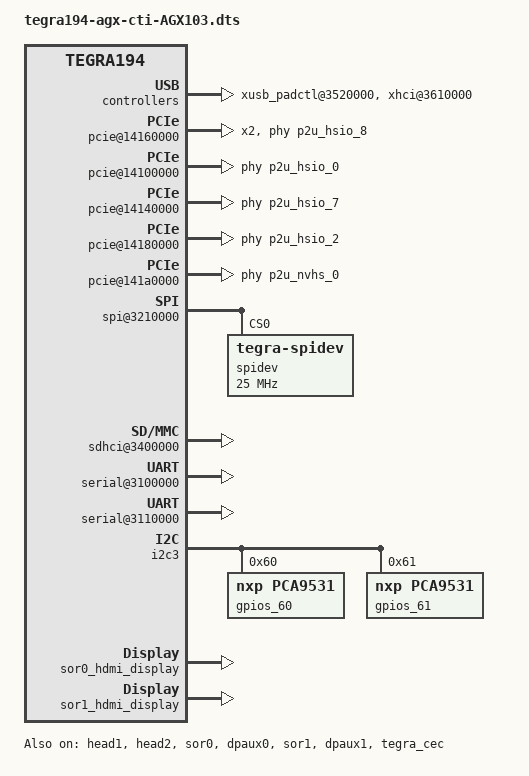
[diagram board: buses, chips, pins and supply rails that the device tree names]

#include "tegra194-agx-cti-base.dtsi"
#include "cti_common/tegra194-agx-cti-AGX111-USBC.dtsi"
/{

    nvidia,dtsfilename = "tegra194-agx-cti-AGX103.dts";

    xusb_padctl@3520000 {
        status = "okay";
        pads {
            usb2 {
                lanes {
                    usb2-0 {
                        status = "okay";
                    };
                    usb2-1 {
                        status = "okay";
                    };
                    usb2-2 {
                        status = "okay";
                    };
                    usb2-3 {
                        status = "okay";
                    };
                };
            };
            usb3 {
                lanes {
                    usb3-0 {
                        status = "okay";
                    };
                    usb3-1 {
                        status = "disabled";
                    };
                    usb3-2 {
                        status = "okay";
                    };
                    usb3-3 {
                        status = "okay";
                    };
                };
            };
        };
        ports {
            usb2-0 {
                status = "okay";
                vbus-supply = <&vdd_usb_vbus0>;
            };
            usb2-1 {
                status = "okay";
                vbus-supply = <&vdd_usb_vbus0>;
            };
            usb2-2 {
                status = "okay";
            };
            usb2-3 {
                status = "okay";
                vbus-supply = <&vdd_usb_vbus0>;
            };
            usb3-0 {
                nvidia,usb2-companion = <1>;
            //    nvidia,usb3-gen1-only= <1>;
                status = "okay";
            };
            usb3-1{
            //    nvidia,usb2-companion = <1>;
            //    nvidia,usb3-gen1-only= <1>;
                status = "disabled";
            };
            usb3-2 {
                nvidia,usb2-companion = <0>;
            //    nvidia,usb3-gen1-only= <1>;
                status = "okay";
            };
            usb3-3 {
                nvidia,usb2-companion = <3>;
            //    nvidia,usb3-gen1-only= <1>;
                status = "okay";
            };
        };
    };

    xhci@3610000 {
        status = "okay";
        phys = <&{/xusb_padctl@3520000/pads/usb2/lanes/usb2-0}>,
            <&{/xusb_padctl@3520000/pads/usb2/lanes/usb2-1}>,
            <&{/xusb_padctl@3520000/pads/usb2/lanes/usb2-3}>,
            <&{/xusb_padctl@3520000/pads/usb2/lanes/usb2-2}>,
            <&{/xusb_padctl@3520000/pads/usb3/lanes/usb3-0}>,
            <&{/xusb_padctl@3520000/pads/usb3/lanes/usb3-2}>,
            <&{/xusb_padctl@3520000/pads/usb3/lanes/usb3-3}>;
        phy-names = "usb2-0", "usb2-1", "usb2-3", "usb2-2",
                    "usb3-0", "usb3-2", "usb3-3";
    };
	//Enabling Nvme
	pcie@14160000 {
        status = "okay";
        num-lanes=<2>;      //supports only 2 lanes

        phys =  <&p2u_hsio_8>,
				<&p2u_hsio_9>;
        phy-names = "p2u-0", "p2u-1";
    };

    pcie@14100000 {
        status = "okay";
        phys = <&p2u_hsio_0>;
        phy-names = "p2u-0";
    };

    pcie@14140000 {
        status = "okay";
        phys = <&p2u_hsio_7>;
        phy-names = "p2u-0";
    };

    pcie@14180000 {
        status = "okay";
        phys = <&p2u_hsio_2>, <&p2u_hsio_3>, <&p2u_hsio_4>, <&p2u_hsio_5>;
        phy-names = "p2u-0", "p2u-1", "p2u-2", "p2u-3";

    };

    pcie@141a0000 {
        status = "okay";

        phys =  <&p2u_nvhs_0>, <&p2u_nvhs_1>, <&p2u_nvhs_2>, <&p2u_nvhs_3>;

        phy-names = "p2u-0", "p2u-1", "p2u-2", "p2u-3";
    };

    spi@3210000{
        status = "okay";
        spidev@0 {
            compatible = "tegra-spidev";
            reg = <0>;
            spi-max-frequency = <25000000>;
        };
    };
	
	//enabling i/o
	sdhci@3400000{
		status = "okay";
	};
	
	serial@3100000{
		status = "okay";
	};
	
	serial@3110000{
		status = "okay";
	};
	
	mttcan@c310000{
		status = "okay";
	};
	
	mttcan@c320000{
		status = "okay";
	};
	
    i2c3: i2c@3180000{
        status = "okay";
        #address-cells = <1>;
        #size-cells = <0>;

        gpios_60:pca9532@60{
            compatible="nxp,pca9531";
            status = "okay";
            reg=<0x60>;
            gpio-controller;
            #gpio-cells=<2>;         
            
            gpio-base=<0>;
            pcagpio_0{
                label="pca:gpio_0";
                type=<3>;
            };
            pcagpio_1{
                label="pca:gpio_1";
                type=<3>;
            };
            pcagpio_2{
                label="pca:gpio_2";
                type=<3>;
            };
            pcagpio_3{
                label="pca:gpio_3";
                type=<3>;
            };
            pcagpio_4{
                label="pca:gpio_4";
                type=<3>;
            };
            pcagpio_5{
                label="pca:gpio_5";
                type=<3>;
            };
            pcagpio_6{
                label="pca:gpio_6";
                type=<3>;
            };
            pcagpio_7{
                label="pca:gpio_7";
                type=<3>;
            };
     
        };

        gpios_61:pca9532@61{
            compatible="nxp,pca9531";
            status = "okay";
            reg=<0x61>;
            gpio-controller;
            #gpio-cells=<2>;

            gpio-base=<8>;         
            pcagpio_0{
                label="pca:gpio_8";
                type=<3>;
            };
            pcagpio_1{
                label="pca:gpio_9";
                type=<3>;
            };
            pcagpio_2{
                label="pca:gpio_10";
                type=<3>;
            };
            pcagpio_3{
                label="pca:gpio_11";
                type=<3>;
            };
            pcagpio_4{
                label="pca:gpio_12";
                type=<3>;
            };
            pcagpio_5{
                label="pca:gpio_13";
                type=<3>;
            };
            pcagpio_6{
                label="pca:gpio_14";
                type=<3>;
            };
            pcagpio_7{
                label="pca:gpio_15";
                type=<3>;
            };
        };
    };

};

//sor0
&head1 {
    status = "okay";
};

//sor1
&head2 {
    status = "okay";
};

&sor0 {
    status = "okay";
    nvidia,active-panel = <&sor0_hdmi_display>;
};

&sor0_hdmi_display {
    status = "okay";
};

&dpaux0 {
    status = "okay";
};

&sor1 {
    status = "okay";
    nvidia,active-panel = <&sor1_hdmi_display>;
};

&sor1_hdmi_display {
    status = "okay";
};

&dpaux1 {
    status = "okay";
};

&tegra_cec {
    status = "okay";
};

